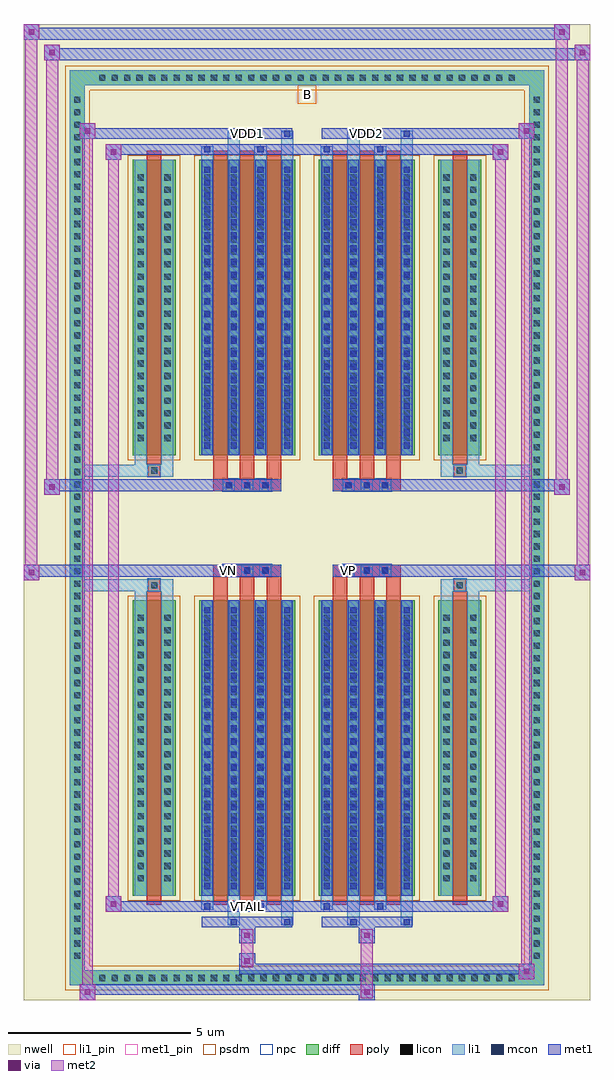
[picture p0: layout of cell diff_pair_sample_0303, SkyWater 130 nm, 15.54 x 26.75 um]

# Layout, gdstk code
import gdstk
lib = gdstk.Library(unit=1e-6, precision=5e-09)
def R(c, l, rs):  # rectangles x0, y0, x1, y1
    for r in rs: c.add(gdstk.rectangle(r[:2], r[2:], *l))
def A(c, l, x, y, w, h, nx, ny, dx, dy):  # array of equal rectangles
    R(c, l, [(x+i*dx, y+j*dy, x+i*dx+w, y+j*dy+h) for i in range(nx) for j in range(ny)])
def P(c, l, *ps):  # polygons
    for p in ps: c.add(gdstk.Polygon(p, *l))
nwell = (64, 20)
diff = (65, 20)
poly = (66, 20)
licon = (66, 44)
li1_pin = (67, 16)
li1 = (67, 20)
mcon = (67, 44)
met1_pin = (68, 16)
met1 = (68, 20)
via = (68, 44)
met2 = (69, 20)
psdm = (94, 20)
npc = (95, 20)

diff_pair_sample_0303 = lib.new_cell('diff_pair_sample_0303')
R(diff_pair_sample_0303, nwell, [(-7.77,-12.94,7.77,13.81), (-5.09,-11.13,-0.01,-0.805), (0.01,-11.13,5.09,-0.805), (-5.09,0.805,-0.01,11.13), (0.01,0.805,5.09,11.13)])
A(diff_pair_sample_0303, diff, -5.815, -12.54, 0.41, 0.41, 34, 2, 0.34, 24.67)
A(diff_pair_sample_0303, diff, -6.5, -11.935, 0.41, 0.41, 1, 70, 0, 0.34)
A(diff_pair_sample_0303, diff, 6.09, -11.935, 0.41, 0.41, 1, 70, 0, 0.34)
R(diff_pair_sample_0303, diff, [(-5.815,-12.54,5.815,-12.13), (-6.5,-11.935,-6.09,11.935), (6.09,-11.935,6.5,11.935), (-4.78,-10.085,-3.6,-1.985), (-2.96,-10.085,-0.32,-1.985), (0.32,-10.085,2.96,-1.985), (3.6,-10.085,4.78,-1.985), (-4.78,1.985,-3.6,10.085), (-2.96,1.985,-0.32,10.085), (0.32,1.985,2.96,10.085), (3.6,1.985,4.78,10.085), (-5.815,12.13,5.815,12.54)])
P(diff_pair_sample_0303, diff, [(6.5,12.54),(-6.5,12.54),(-6.5,-12.13),(-6.09,-12.13),(-6.09,12.13),(6.09,12.13),(6.09,-12.13),(-6.09,-12.13),(-6.5,-12.13),(-6.5,-12.54),(6.5,-12.54)])
A(diff_pair_sample_0303, poly, -2.57, -10.335, 0.4, 8.6, 3, 2, 0.73, 12.07)
A(diff_pair_sample_0303, poly, 0.71, -10.335, 0.4, 8.6, 3, 2, 0.73, 12.07)
A(diff_pair_sample_0303, poly, -2.57, -1.735, 0.4, 0.4, 3, 2, 0.73, 3.07)
A(diff_pair_sample_0303, poly, 0.71, -1.735, 0.4, 0.4, 3, 2, 0.73, 3.07)
A(diff_pair_sample_0303, poly, -2.305, -1.335, 0.33, 0.33, 3, 2, 0.5, 2.34)
A(diff_pair_sample_0303, poly, 0.975, -1.335, 0.33, 0.33, 3, 2, 0.5, 2.34)
R(diff_pair_sample_0303, poly, [(-4.39,-10.335,-3.99,-1.735), (3.99,-10.335,4.39,-1.735), (-4.355,-1.735,-4.025,-1.405), (-4.355,-1.735,-4.025,-1.405), (4.025,-1.735,4.355,-1.405), (4.025,-1.735,4.355,-1.405), (-2.57,-1.335,-0.71,-1.005), (0.71,-1.335,2.57,-1.005), (-2.57,1.005,-0.71,1.335), (0.71,1.005,2.57,1.335), (-4.355,1.405,-4.025,1.735), (-4.355,1.405,-4.025,1.735), (4.025,1.405,4.355,1.735), (4.025,1.405,4.355,1.735), (-4.39,1.735,-3.99,10.335), (3.99,1.735,4.39,10.335)])
A(diff_pair_sample_0303, licon, -5.695, -12.42, 0.17, 0.17, 34, 2, 0.34, 24.67)
A(diff_pair_sample_0303, licon, -6.38, -11.815, 0.17, 0.17, 1, 70, 0, 0.34)
A(diff_pair_sample_0303, licon, 6.21, -11.815, 0.17, 0.17, 1, 70, 0, 0.34)
A(diff_pair_sample_0303, licon, -4.64, -9.69, 0.17, 0.17, 1, 22, 0, 0.34)
A(diff_pair_sample_0303, licon, -3.91, -9.69, 0.17, 0.17, 1, 22, 0, 0.34)
A(diff_pair_sample_0303, licon, -2.82, -9.69, 0.17, 0.17, 4, 22, 0.73, 0.34)
A(diff_pair_sample_0303, licon, 0.46, -9.69, 0.17, 0.17, 4, 22, 0.73, 0.34)
A(diff_pair_sample_0303, licon, 3.74, -9.69, 0.17, 0.17, 1, 22, 0, 0.34)
A(diff_pair_sample_0303, licon, 4.47, -9.69, 0.17, 0.17, 1, 22, 0, 0.34)
A(diff_pair_sample_0303, licon, -2.225, -1.255, 0.17, 0.17, 3, 2, 0.5, 2.34)
A(diff_pair_sample_0303, licon, 1.055, -1.255, 0.17, 0.17, 3, 2, 0.5, 2.34)
A(diff_pair_sample_0303, licon, -4.64, 2.38, 0.17, 0.17, 1, 22, 0, 0.34)
A(diff_pair_sample_0303, licon, -3.91, 2.38, 0.17, 0.17, 1, 22, 0, 0.34)
A(diff_pair_sample_0303, licon, -2.82, 2.38, 0.17, 0.17, 4, 22, 0.73, 0.34)
A(diff_pair_sample_0303, licon, 0.46, 2.38, 0.17, 0.17, 4, 22, 0.73, 0.34)
A(diff_pair_sample_0303, licon, 3.74, 2.38, 0.17, 0.17, 1, 22, 0, 0.34)
A(diff_pair_sample_0303, licon, 4.47, 2.38, 0.17, 0.17, 1, 22, 0, 0.34)
R(diff_pair_sample_0303, licon, [(-4.275,-1.655,-4.105,-1.485), (4.105,-1.655,4.275,-1.485), (-4.275,1.485,-4.105,1.655), (4.105,1.485,4.275,1.655)])
R(diff_pair_sample_0303, li1_pin, [(-0.25,11.63,0.25,12.13)])
A(diff_pair_sample_0303, li1, -5.775, -12.5, 0.33, 0.33, 34, 2, 0.34, 24.67)
A(diff_pair_sample_0303, li1, -6.46, -11.895, 0.33, 0.33, 1, 70, 0, 0.34)
A(diff_pair_sample_0303, li1, 6.13, -11.895, 0.33, 0.33, 1, 70, 0, 0.34)
A(diff_pair_sample_0303, li1, -2.9, -10.085, 0.33, 8.1, 4, 2, 0.73, 12.07)
A(diff_pair_sample_0303, li1, 0.38, -10.085, 0.33, 8.1, 4, 2, 0.73, 12.07)
A(diff_pair_sample_0303, li1, -2.82, -9.9, 0.17, 0.17, 4, 22, 0.73, 0.36)
A(diff_pair_sample_0303, li1, -2.82, -9.9, 0.17, 7.73, 4, 2, 0.73, 12.07)
A(diff_pair_sample_0303, li1, 0.46, -9.9, 0.17, 0.17, 4, 22, 0.73, 0.36)
A(diff_pair_sample_0303, li1, 0.46, -9.9, 0.17, 7.73, 4, 2, 0.73, 12.07)
A(diff_pair_sample_0303, li1, -4.72, -9.77, 0.33, 0.33, 1, 22, 0, 0.34)
A(diff_pair_sample_0303, li1, -3.99, -9.77, 0.33, 0.33, 1, 22, 0, 0.34)
A(diff_pair_sample_0303, li1, -2.9, -9.77, 0.33, 0.33, 4, 22, 0.73, 0.34)
A(diff_pair_sample_0303, li1, 0.38, -9.77, 0.33, 0.33, 4, 22, 0.73, 0.34)
A(diff_pair_sample_0303, li1, 3.66, -9.77, 0.33, 0.33, 1, 22, 0, 0.34)
A(diff_pair_sample_0303, li1, 4.39, -9.77, 0.33, 0.33, 1, 22, 0, 0.34)
A(diff_pair_sample_0303, li1, -2.305, -1.335, 0.33, 0.33, 3, 2, 0.5, 2.34)
A(diff_pair_sample_0303, li1, 0.975, -1.335, 0.33, 0.33, 3, 2, 0.5, 2.34)
A(diff_pair_sample_0303, li1, -2.82, 2.17, 0.17, 0.17, 4, 22, 0.73, 0.36)
A(diff_pair_sample_0303, li1, 0.46, 2.17, 0.17, 0.17, 4, 22, 0.73, 0.36)
A(diff_pair_sample_0303, li1, -4.72, 2.3, 0.33, 0.33, 1, 22, 0, 0.34)
A(diff_pair_sample_0303, li1, -3.99, 2.3, 0.33, 0.33, 1, 22, 0, 0.34)
A(diff_pair_sample_0303, li1, -2.9, 2.3, 0.33, 0.33, 4, 22, 0.73, 0.34)
A(diff_pair_sample_0303, li1, 0.38, 2.3, 0.33, 0.33, 4, 22, 0.73, 0.34)
A(diff_pair_sample_0303, li1, 3.66, 2.3, 0.33, 0.33, 1, 22, 0, 0.34)
A(diff_pair_sample_0303, li1, 4.39, 2.3, 0.33, 0.33, 1, 22, 0, 0.34)
R(diff_pair_sample_0303, li1, [(-6.5,-12.54,-6.09,-12.13), (-6.5,-12.54,-6.09,-12.13), (-6.09,-12.54,6.09,-12.13), (6.09,-12.54,6.5,-12.13), (6.09,-12.54,6.5,-12.13), (-6.5,-12.13,-6.09,12.13), (6.09,-12.13,6.5,12.13), (-2.17,-10.89,-1.84,-10.085), (-2.09,-10.89,-1.92,-10.72), (-0.71,-10.89,-0.38,-10.085), (-0.63,-10.89,-0.46,-10.72), (1.11,-10.89,1.44,-10.085), (1.19,-10.89,1.36,-10.72), (2.57,-10.89,2.9,-10.085), (2.65,-10.89,2.82,-10.72), (-2.9,-10.46,-2.57,-10.085), (-2.82,-10.46,-2.65,-10.29), (-1.44,-10.46,-1.11,-10.085), (-1.36,-10.46,-1.19,-10.29), (0.38,-10.46,0.71,-10.085), (0.46,-10.46,0.63,-10.29), (1.84,-10.46,2.17,-10.085), (1.92,-10.46,2.09,-10.29), (-4.72,-10.085,-4.39,-1.985), (-3.99,-10.085,-3.66,-1.985), (3.66,-10.085,3.99,-1.985), (4.39,-10.085,4.72,-1.985), (-4.72,-1.985,-4.39,-1.405), (-3.99,-1.985,-3.66,-1.405), (3.66,-1.985,3.99,-1.405), (4.39,-1.985,4.72,-1.405), (-6.5,-1.735,-4.355,-1.405), (-4.72,-1.735,-4.355,-1.405), (-4.355,-1.735,-4.025,-1.405), (-4.025,-1.735,-3.66,-1.405), (3.66,-1.735,4.025,-1.405), (4.025,-1.735,4.355,-1.405), (4.025,-1.735,6.5,-1.405), (4.355,-1.735,4.72,-1.405), (-6.5,1.405,-4.355,1.735), (-4.72,1.405,-4.355,1.735), (-4.72,1.405,-4.39,1.985), (-4.355,1.405,-4.025,1.735), (-4.025,1.405,-3.66,1.735), (-3.99,1.405,-3.66,1.985), (3.66,1.405,4.025,1.735), (3.66,1.405,3.99,1.985), (4.025,1.405,4.355,1.735), (4.025,1.405,6.5,1.735), (4.355,1.405,4.72,1.735), (4.39,1.405,4.72,1.985), (-4.72,1.985,-4.39,10.085), (-3.99,1.985,-3.66,10.085), (3.66,1.985,3.99,10.085), (4.39,1.985,4.72,10.085), (-2.9,10.085,-2.57,10.46), (-2.17,10.085,-1.84,10.89), (-1.44,10.085,-1.11,10.46), (-0.71,10.085,-0.38,10.89), (0.38,10.085,0.71,10.46), (1.11,10.085,1.44,10.89), (1.84,10.085,2.17,10.46), (2.57,10.085,2.9,10.89), (-2.82,10.29,-2.65,10.46), (-1.36,10.29,-1.19,10.46), (0.46,10.29,0.63,10.46), (1.92,10.29,2.09,10.46), (-2.09,10.72,-1.92,10.89), (-0.63,10.72,-0.46,10.89), (1.19,10.72,1.36,10.89), (2.65,10.72,2.82,10.89), (-6.5,12.13,-6.09,12.54), (-6.5,12.13,-6.09,12.54), (-6.09,12.13,6.09,12.54), (6.09,12.13,6.5,12.54), (6.09,12.13,6.5,12.54)])
A(diff_pair_sample_0303, mcon, -2.82, -9.9, 0.17, 0.17, 4, 22, 0.73, 0.36)
A(diff_pair_sample_0303, mcon, 0.46, -9.9, 0.17, 0.17, 4, 22, 0.73, 0.36)
A(diff_pair_sample_0303, mcon, -2.225, -1.255, 0.17, 0.17, 3, 2, 0.5, 2.34)
A(diff_pair_sample_0303, mcon, 1.055, -1.255, 0.17, 0.17, 3, 2, 0.5, 2.34)
A(diff_pair_sample_0303, mcon, -2.82, 2.17, 0.17, 0.17, 4, 22, 0.73, 0.36)
A(diff_pair_sample_0303, mcon, 0.46, 2.17, 0.17, 0.17, 4, 22, 0.73, 0.36)
R(diff_pair_sample_0303, mcon, [(-2.09,-10.89,-1.92,-10.72), (-0.63,-10.89,-0.46,-10.72), (1.19,-10.89,1.36,-10.72), (2.65,-10.89,2.82,-10.72), (-2.82,-10.46,-2.65,-10.29), (-1.36,-10.46,-1.19,-10.29), (0.46,-10.46,0.63,-10.29), (1.92,-10.46,2.09,-10.29), (-2.82,10.29,-2.65,10.46), (-1.36,10.29,-1.19,10.46), (0.46,10.29,0.63,10.46), (1.92,10.29,2.09,10.46), (-2.09,10.72,-1.92,10.89), (-0.63,10.72,-0.46,10.89), (1.19,10.72,1.36,10.89), (2.65,10.72,2.82,10.89)])
R(diff_pair_sample_0303, met1_pin, [(-1.775,-10.5,-1.505,-10.23), (-2.275,-1.295,-2.005,-1.025), (1.005,-1.295,1.275,-1.025), (-1.775,10.68,-1.505,10.95), (1.505,10.68,1.775,10.95)])
A(diff_pair_sample_0303, met1, -2.88, -10.085, 0.29, 8.1, 4, 2, 0.73, 12.07)
A(diff_pair_sample_0303, met1, 0.4, -10.085, 0.29, 8.1, 4, 2, 0.73, 12.07)
A(diff_pair_sample_0303, met1, -2.88, -9.96, 0.29, 0.29, 4, 22, 0.73, 0.36)
A(diff_pair_sample_0303, met1, 0.4, -9.96, 0.29, 0.29, 4, 22, 0.73, 0.36)
A(diff_pair_sample_0303, met1, -2.285, -1.315, 0.29, 0.29, 3, 2, 0.5, 2.34)
A(diff_pair_sample_0303, met1, 0.995, -1.315, 0.29, 0.29, 3, 2, 0.5, 2.34)
A(diff_pair_sample_0303, met1, -2.88, 2.11, 0.29, 0.29, 4, 22, 0.73, 0.36)
A(diff_pair_sample_0303, met1, 0.4, 2.11, 0.29, 0.29, 4, 22, 0.73, 0.36)
R(diff_pair_sample_0303, met1, [(-6.23,-12.94,-5.8,-12.51), (1.425,-12.94,1.855,-12.51), (-6.23,-12.8,1.855,-12.51), (5.8,-12.37,6.23,-11.94), (-1.855,-12.23,6.23,-11.94), (-1.855,-12.09,-1.425,-11.66), (-1.855,-11.38,-1.425,-10.95), (1.425,-11.38,1.855,-10.95), (-2.88,-10.95,-0.4,-10.66), (-2.15,-10.95,-1.86,-10.66), (-0.69,-10.95,-0.4,-10.66), (0.4,-10.95,2.88,-10.66), (1.13,-10.95,1.42,-10.66), (2.59,-10.95,2.88,-10.66), (-5.52,-10.52,-5.09,-10.09), (-5.52,-10.52,-2.88,-10.23), (-2.88,-10.52,-2.59,-10.23), (-2.88,-10.52,-0.4,-10.23), (-1.42,-10.52,-1.13,-10.23), (-0.4,-10.52,0.4,-10.23), (0.4,-10.52,0.69,-10.23), (0.4,-10.52,2.88,-10.23), (1.86,-10.52,2.15,-10.23), (2.88,-10.52,5.52,-10.23), (5.09,-10.52,5.52,-10.09), (-7.77,-1.435,-7.34,-1.005), (7.34,-1.435,7.77,-1.005), (-7.77,-1.335,-0.71,-1.005), (-2.57,-1.335,-0.71,-1.005), (0.71,-1.335,2.57,-1.005), (0.71,-1.335,7.77,-1.005), (-7.2,0.905,-6.77,1.335), (6.77,0.905,7.2,1.335), (-7.2,1.005,-2.57,1.335), (-2.57,1.005,-0.71,1.335), (0.71,1.005,2.57,1.335), (2.57,1.005,7.2,1.335), (-5.52,10.09,-5.09,10.52), (5.09,10.09,5.52,10.52), (-5.52,10.23,-2.88,10.52), (-2.88,10.23,-2.59,10.52), (-2.88,10.23,-0.4,10.52), (-1.42,10.23,-1.13,10.52), (-0.4,10.23,0.4,10.52), (0.4,10.23,0.69,10.52), (0.4,10.23,2.88,10.52), (1.86,10.23,2.15,10.52), (2.88,10.23,5.52,10.52), (-6.23,10.66,-5.8,11.09), (-6.23,10.66,-2.88,10.95), (-2.88,10.66,-0.4,10.95), (-2.15,10.66,-1.86,10.95), (-0.69,10.66,-0.4,10.95), (0.4,10.66,2.88,10.95), (1.13,10.66,1.42,10.95), (2.59,10.66,2.88,10.95), (2.88,10.66,6.23,10.95), (5.8,10.66,6.23,11.09), (-7.2,12.81,-6.77,13.24), (-7.2,12.81,-5.09,13.14), (-5.09,12.81,5.09,13.14), (5.09,12.81,7.77,13.14), (7.34,12.81,7.77,13.24), (-7.77,13.38,-7.34,13.81), (-7.77,13.38,-5.09,13.71), (-5.09,13.38,5.09,13.71), (5.09,13.38,7.2,13.71), (6.77,13.38,7.2,13.81)])
R(diff_pair_sample_0303, via, [(-6.09,-12.8,-5.94,-12.65), (1.565,-12.8,1.715,-12.65), (5.94,-12.23,6.09,-12.08), (-1.715,-11.95,-1.565,-11.8), (-1.715,-11.24,-1.565,-11.09), (1.565,-11.24,1.715,-11.09), (-5.38,-10.38,-5.23,-10.23), (5.23,-10.38,5.38,-10.23), (-7.63,-1.295,-7.48,-1.145), (7.48,-1.295,7.63,-1.145), (-7.06,1.045,-6.91,1.195), (6.91,1.045,7.06,1.195), (-5.38,10.23,-5.23,10.38), (5.23,10.23,5.38,10.38), (-6.09,10.8,-5.94,10.95), (5.94,10.8,6.09,10.95), (-7.06,12.95,-6.91,13.1), (7.48,12.95,7.63,13.1), (-7.63,13.52,-7.48,13.67), (6.91,13.52,7.06,13.67)])
R(diff_pair_sample_0303, met2, [(-6.23,-12.94,-5.8,-12.51), (-6.16,-12.94,-5.87,11.09), (-5.87,-12.94,-5.8,-12.51), (-6.18,-12.89,-5.85,-12.56), (1.475,-12.89,1.805,-12.56), (1.475,-12.56,1.805,-11.33), (5.8,-12.37,6.23,-11.94), (5.87,-12.37,6.16,11.09), (6.16,-12.37,6.23,-11.94), (5.85,-12.32,6.18,-11.99), (-1.805,-12.04,-1.475,-11.71), (-1.805,-11.71,-1.475,-11.33), (-1.805,-11.33,-1.475,-11), (1.475,-11.33,1.805,-11), (-5.52,-10.52,-5.09,-10.09), (-5.45,-10.52,-5.16,10.52), (-5.16,-10.52,-5.09,-10.09), (5.09,-10.52,5.52,-10.09), (5.16,-10.52,5.45,10.52), (5.45,-10.52,5.52,-10.09), (-5.47,-10.47,-5.14,-10.14), (5.14,-10.47,5.47,-10.14), (-7.77,-1.435,-7.34,-1.005), (-7.72,-1.435,-7.39,13.81), (-7.39,-1.435,-7.34,-1.005), (7.34,-1.435,7.77,-1.005), (7.39,-1.435,7.72,13.24), (7.72,-1.435,7.77,-1.005), (-7.72,-1.385,-7.39,-1.055), (7.39,-1.385,7.72,-1.055), (-7.2,0.905,-6.77,1.335), (-7.15,0.905,-6.82,13.24), (-6.82,0.905,-6.77,1.335), (6.77,0.905,7.2,1.335), (6.82,0.905,7.15,13.81), (7.15,0.905,7.2,1.335), (-7.15,0.955,-6.82,1.285), (6.82,0.955,7.15,1.285), (-5.52,10.09,-5.09,10.52), (-5.16,10.09,-5.09,10.52), (5.09,10.09,5.52,10.52), (5.45,10.09,5.52,10.52), (-5.47,10.14,-5.14,10.47), (5.14,10.14,5.47,10.47), (-6.23,10.66,-5.8,11.09), (-5.87,10.66,-5.8,11.09), (5.8,10.66,6.23,11.09), (6.16,10.66,6.23,11.09), (-6.18,10.71,-5.85,11.04), (5.85,10.71,6.18,11.04), (-7.2,12.81,-6.77,13.24), (-6.82,12.81,-6.77,13.24), (7.34,12.81,7.77,13.24), (7.72,12.81,7.77,13.24), (-7.15,12.86,-6.82,13.19), (7.39,12.86,7.72,13.19), (-7.77,13.38,-7.34,13.81), (-7.39,13.38,-7.34,13.81), (6.77,13.38,7.2,13.81), (7.15,13.38,7.2,13.81), (-7.72,13.43,-7.39,13.76), (6.82,13.43,7.15,13.76)])
R(diff_pair_sample_0303, psdm, [(-4.91,-10.215,-3.47,-1.855), (-3.09,-10.215,-0.19,-1.855), (0.19,-10.215,3.09,-1.855), (3.47,-10.215,4.91,-1.855), (-4.91,1.855,-3.47,10.215), (-3.09,1.855,-0.19,10.215), (0.19,1.855,3.09,10.215), (3.47,1.855,4.91,10.215)])
P(diff_pair_sample_0303, psdm, [(6.63,12.67),(-6.63,12.67),(-6.63,-12),(-5.96,-12),(-5.96,12),(5.96,12),(5.96,-12),(-5.96,-12),(-6.63,-12),(-6.63,-12.67),(6.63,-12.67)])
A(diff_pair_sample_0303, npc, -2.325, -1.355, 0.37, 0.37, 3, 2, 0.5, 2.34)
A(diff_pair_sample_0303, npc, 0.955, -1.355, 0.37, 0.37, 3, 2, 0.5, 2.34)
R(diff_pair_sample_0303, npc, [(-4.375,-1.755,-4.005,-1.385), (4.005,-1.755,4.375,-1.385), (-2.325,-1.355,-1.455,-0.985), (-2.325,-1.355,-1.455,-0.985), (-1.825,-1.355,-0.955,-0.985), (-1.825,-1.355,-0.955,-0.985), (0.955,-1.355,1.825,-0.985), (0.955,-1.355,1.825,-0.985), (1.455,-1.355,2.325,-0.985), (1.455,-1.355,2.325,-0.985), (-2.325,0.985,-1.455,1.355), (-2.325,0.985,-1.455,1.355), (-1.825,0.985,-0.955,1.355), (-1.825,0.985,-0.955,1.355), (0.955,0.985,1.825,1.355), (0.955,0.985,1.825,1.355), (1.455,0.985,2.325,1.355), (1.455,0.985,2.325,1.355), (-4.375,1.385,-4.005,1.755), (4.005,1.385,4.375,1.755)])
diff_pair_sample_0303.add(gdstk.Label('VTAIL', (-1.64,-10.365), layer=68, texttype=5))
diff_pair_sample_0303.add(gdstk.Label('VN', (-2.14,-1.16), layer=68, texttype=5))
diff_pair_sample_0303.add(gdstk.Label('VP', (1.14,-1.16), layer=68, texttype=5))
diff_pair_sample_0303.add(gdstk.Label('B', (0,11.88), layer=67, texttype=5))
diff_pair_sample_0303.add(gdstk.Label('VDD2', (1.64,10.815), layer=68, texttype=5))
diff_pair_sample_0303.add(gdstk.Label('VDD1', (-1.64,10.815), layer=68, texttype=5))

lib.write_gds('diff_pair_sample_0303.gds')
